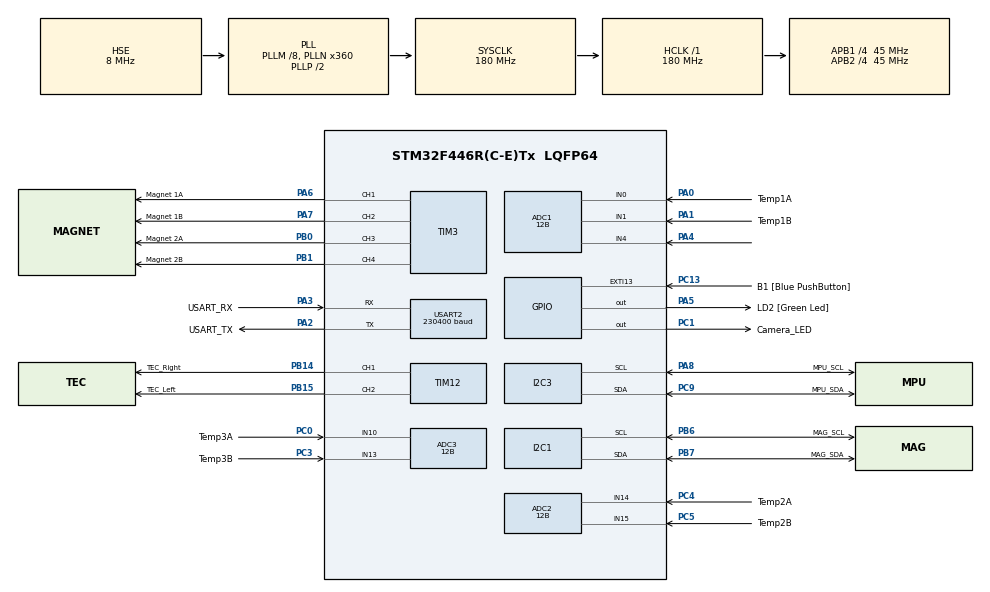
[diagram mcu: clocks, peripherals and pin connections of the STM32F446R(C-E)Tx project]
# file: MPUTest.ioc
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ADC1.Channel-0\#ChannelRegularConversion=ADC_CHANNEL_0
ADC1.Channel-1\#ChannelRegularConversion=ADC_CHANNEL_1
ADC1.Channel-2\#ChannelInjectedConversion=ADC_CHANNEL_0
ADC1.Channel-3\#ChannelInjectedConversion=ADC_CHANNEL_0
ADC1.ClockPrescaler=ADC_CLOCK_SYNC_PCLK_DIV8
ADC1.ContinuousConvMode=ENABLE
ADC1.DMAContinuousRequests=ENABLE
ADC1.DataAlign=ADC_DATAALIGN_RIGHT
ADC1.DiscontinuousConvMode=DISABLE
ADC1.EOCSelection=ADC_EOC_SEQ_CONV
ADC1.EnableAnalogWatchDog=false
ADC1.ExternalTrigConv=ADC_SOFTWARE_START
ADC1.ExternalTrigConvEdge=ADC_EXTERNALTRIGCONVEDGE_NONE
ADC1.InjNumberOfConversion=0
ADC1.InjectedOffset-2\#ChannelInjectedConversion=0
ADC1.InjectedOffset-3\#ChannelInjectedConversion=0
ADC1.NbrOfConversion=2
ADC1.NbrOfConversionFlag=1
ADC1.Rank-0\#ChannelRegularConversion=1
ADC1.Rank-1\#ChannelRegularConversion=2
ADC1.Rank-2\#ChannelInjectedConversion=1
ADC1.Rank-3\#ChannelInjectedConversion=2
ADC1.Resolution=ADC_RESOLUTION_12B
ADC1.SamplingTime-0\#ChannelRegularConversion=ADC_SAMPLETIME_28CYCLES
ADC1.SamplingTime-1\#ChannelRegularConversion=ADC_SAMPLETIME_28CYCLES
ADC1.SamplingTime-2\#ChannelInjectedConversion=ADC_SAMPLETIME_3CYCLES
ADC1.SamplingTime-3\#ChannelInjectedConversion=ADC_SAMPLETIME_3CYCLES
ADC1.ScanConvMode=ENABLE
ADC1.master=1
ADC2.Channel-0\#ChannelRegularConversion=ADC_CHANNEL_14
ADC2.Channel-1\#ChannelRegularConversion=ADC_CHANNEL_15
ADC2.ClockPrescaler=ADC_CLOCK_SYNC_PCLK_DIV8
ADC2.ContinuousConvMode=ENABLE
ADC2.DMAContinuousRequests=ENABLE
ADC2.DataAlign=ADC_DATAALIGN_RIGHT
ADC2.DiscontinuousConvMode=DISABLE
ADC2.EOCSelection=ADC_EOC_SINGLE_CONV
ADC2.EnableAnalogWatchDog=false
ADC2.ExternalTrigConv=ADC_SOFTWARE_START
ADC2.ExternalTrigConvEdge=ADC_EXTERNALTRIGCONVEDGE_NONE
ADC2.InjNumberOfConversion=0
ADC2.NbrOfConversion=2
ADC2.NbrOfConversionFlag=1
ADC2.Rank-0\#ChannelRegularConversion=1
ADC2.Rank-1\#ChannelRegularConversion=2
ADC2.Resolution=ADC_RESOLUTION_12B
ADC2.SamplingTime-0\#ChannelRegularConversion=ADC_SAMPLETIME_28CYCLES
ADC2.SamplingTime-1\#ChannelRegularConversion=ADC_SAMPLETIME_28CYCLES
ADC2.ScanConvMode=ENABLE
ADC3.Channel-4\#ChannelRegularConversion=ADC_CHANNEL_10
ADC3.Channel-5\#ChannelRegularConversion=ADC_CHANNEL_13
ADC3.ClockPrescaler=ADC_CLOCK_SYNC_PCLK_DIV8
ADC3.ContinuousConvMode=ENABLE
ADC3.DMAContinuousRequests=ENABLE
ADC3.DataAlign=ADC_DATAALIGN_RIGHT
ADC3.DiscontinuousConvMode=DISABLE
ADC3.EOCSelection=ADC_EOC_SINGLE_CONV
ADC3.EnableAnalogWatchDog=false
ADC3.ExternalTrigConv=ADC_SOFTWARE_START
ADC3.ExternalTrigConvEdge=ADC_EXTERNALTRIGCONVEDGE_NONE
ADC3.InjNumberOfConversion=0
ADC3.NbrOfConversion=2
ADC3.NbrOfConversionFlag=1
ADC3.Rank-4\#ChannelRegularConversion=1
ADC3.Rank-5\#ChannelRegularConversion=2
ADC3.Resolution=ADC_RESOLUTION_12B
ADC3.SamplingTime-4\#ChannelRegularConversion=ADC_SAMPLETIME_28CYCLES
ADC3.SamplingTime-5\#ChannelRegularConversion=ADC_SAMPLETIME_28CYCLES
ADC3.ScanConvMode=ENABLE
Dma.ADC1.4.Direction=DMA_PERIPH_TO_MEMORY
Dma.ADC1.4.FIFOMode=DMA_FIFOMODE_DISABLE
Dma.ADC1.4.Instance=DMA2_Stream0
Dma.ADC1.4.MemDataAlignment=DMA_MDATAALIGN_HALFWORD
Dma.ADC1.4.MemInc=DMA_MINC_ENABLE
Dma.ADC1.4.Mode=DMA_CIRCULAR
Dma.ADC1.4.PeriphDataAlignment=DMA_PDATAALIGN_HALFWORD
Dma.ADC1.4.PeriphInc=DMA_PINC_DISABLE
Dma.ADC1.4.Priority=DMA_PRIORITY_LOW
Dma.ADC2.5.Direction=DMA_PERIPH_TO_MEMORY
Dma.ADC2.5.FIFOMode=DMA_FIFOMODE_DISABLE
Dma.ADC2.5.Instance=DMA2_Stream2
Dma.ADC2.5.MemDataAlignment=DMA_MDATAALIGN_HALFWORD
Dma.ADC2.5.MemInc=DMA_MINC_ENABLE
Dma.ADC2.5.Mode=DMA_CIRCULAR
Dma.ADC2.5.PeriphDataAlignment=DMA_PDATAALIGN_HALFWORD
Dma.ADC2.5.PeriphInc=DMA_PINC_DISABLE
Dma.ADC2.5.Priority=DMA_PRIORITY_LOW
Dma.ADC3.3.Direction=DMA_PERIPH_TO_MEMORY
Dma.ADC3.3.FIFOMode=DMA_FIFOMODE_DISABLE
Dma.ADC3.3.Instance=DMA2_Stream1
Dma.ADC3.3.MemDataAlignment=DMA_MDATAALIGN_HALFWORD
Dma.ADC3.3.MemInc=DMA_MINC_ENABLE
Dma.ADC3.3.Mode=DMA_CIRCULAR
Dma.ADC3.3.PeriphDataAlignment=DMA_PDATAALIGN_HALFWORD
Dma.ADC3.3.PeriphInc=DMA_PINC_DISABLE
Dma.ADC3.3.Priority=DMA_PRIORITY_LOW
Dma.I2C1_RX.0.Direction=DMA_PERIPH_TO_MEMORY
Dma.I2C1_RX.0.FIFOMode=DMA_FIFOMODE_DISABLE
Dma.I2C1_RX.0.Instance=DMA1_Stream0
Dma.I2C1_RX.0.MemDataAlignment=DMA_MDATAALIGN_BYTE
Dma.I2C1_RX.0.MemInc=DMA_MINC_ENABLE
Dma.I2C1_RX.0.Mode=DMA_NORMAL
Dma.I2C1_RX.0.PeriphDataAlignment=DMA_PDATAALIGN_BYTE
Dma.I2C1_RX.0.PeriphInc=DMA_PINC_DISABLE
Dma.I2C1_RX.0.Priority=DMA_PRIORITY_LOW
Dma.I2C3_RX.2.Direction=DMA_PERIPH_TO_MEMORY
Dma.I2C3_RX.2.FIFOMode=DMA_FIFOMODE_DISABLE
Dma.I2C3_RX.2.Instance=DMA1_Stream1
Dma.I2C3_RX.2.MemDataAlignment=DMA_MDATAALIGN_BYTE
Dma.I2C3_RX.2.MemInc=DMA_MINC_ENABLE
Dma.I2C3_RX.2.Mode=DMA_NORMAL
Dma.I2C3_RX.2.PeriphDataAlignment=DMA_PDATAALIGN_BYTE
Dma.I2C3_RX.2.PeriphInc=DMA_PINC_DISABLE
Dma.I2C3_RX.2.Priority=DMA_PRIORITY_LOW
Dma.Request0=I2C1_RX
Dma.Request1=USART2_TX
Dma.Request2=I2C3_RX
Dma.Request3=ADC3
Dma.Request4=ADC1
Dma.Request5=ADC2
Dma.USART2_TX.1.Direction=DMA_MEMORY_TO_PERIPH
Dma.USART2_TX.1.FIFOMode=DMA_FIFOMODE_DISABLE
Dma.USART2_TX.1.Instance=DMA1_Stream6
Dma.USART2_TX.1.MemDataAlignment=DMA_MDATAALIGN_BYTE
Dma.USART2_TX.1.MemInc=DMA_MINC_ENABLE
Dma.USART2_TX.1.Mode=DMA_NORMAL
Dma.USART2_TX.1.PeriphDataAlignment=DMA_PDATAALIGN_BYTE
Dma.USART2_TX.1.PeriphInc=DMA_PINC_DISABLE
Dma.USART2_TX.1.Priority=DMA_PRIORITY_LOW
FREERTOS.BinarySemaphores01=semMPU9250,Static,semMPU9250ControlBlock;semTx,Static,semTxControlBlock;semRx,Static,semRxControlBlock
FREERTOS.HEAP_NUMBER=4
FREERTOS.INCLUDE_pcTaskGetTaskName=0
FREERTOS.INCLUDE_uxTaskGetStackHighWaterMark=0
FREERTOS.INCLUDE_vTaskCleanUpResources=0
FREERTOS.INCLUDE_vTaskDelayUntil=1
FREERTOS.INCLUDE_xTaskGetHandle=1
FREERTOS.MEMORY_ALLOCATION=2
FREERTOS.Queues01=xTXDataQueue,4,TXData_t,0,Static,xTXDataQueueBuffer,xTXDataQueueControlBlock
FREERTOS.Tasks01=defaultTask,-3,1024,StartDefaultTask,Default,NULL,Static,defaultTaskBuffer,defaultTaskControlBlock;ControlTask,0,512,StartControlTask,Default,NULL,Static,ControlTaskBuffer,ControlTaskControlBlock;TxTask,2,512,StartTxTask,Default,NULL,Static,DataLogTaskBuffer,DataLogTaskControlBlock;MPU9250Task,0,1024,StartMPU9250Task,Default,NULL,Static,MPU9250TaskBuffer,MPU9250TaskControlBlock;RxTask,3,512,StartRxTask,Default,NULL,Static,rxTaskBuffer,rxTaskControlBlock;TempTask,0,512,StartTempTask,Default,NULL,Static,TempTaskBuffer,TempTaskControlBlock
FREERTOS.Timers01=tmrLEDBlink,tmrLEDCallback,osTimerPeriodic,Default,NULL,Static,tmrLEDBlinkControlBlock;tmrCameraLED,tmrCameraLEDCallback,osTimerOnce,Default,NULL,Static,tmrCameraLEDControlBlock
FREERTOS.configGENERATE_RUN_TIME_STATS=1
FREERTOS.configMINIMAL_STACK_SIZE=256
FREERTOS.configTOTAL_HEAP_SIZE=4096
FREERTOS.configUSE_COUNTING_SEMAPHORES=0
FREERTOS.configUSE_STATS_FORMATTING_FUNCTIONS=1
FREERTOS.configUSE_TIMERS=1
FREERTOS.configUSE_TRACE_FACILITY=1
I2C1.I2C_Mode=I2C_Fast
I2C3.I2C_Mode=I2C_Fast
Mcu.Family=STM32F4
Mcu.Name=STM32F446R(C-E)Tx
Mcu.Package=LQFP64
Mcu.UserConstants=TEC_PWM_PERIOD,18000;MPU9250_CYCLE_MS,2;CONTROL_CYCLE_MS,2;TEMP_CYCLE_MS,10;MAGNET_PWM_PERIOD,18000
NVIC.DMA1_Stream0_IRQn=true\:5\:0\:false\:false\:true\:true\:false
NVIC.DMA1_Stream1_IRQn=true\:5\:0\:false\:false\:true\:true\:false
NVIC.DMA1_Stream6_IRQn=true\:5\:0\:false\:false\:true\:true\:false
NVIC.DMA2_Stream0_IRQn=true\:5\:0\:false\:false\:true\:true\:false
NVIC.DMA2_Stream1_IRQn=true\:5\:0\:false\:false\:true\:true\:false
NVIC.DMA2_Stream2_IRQn=true\:5\:0\:false\:false\:true\:true\:false
NVIC.I2C1_EV_IRQn=true\:5\:0\:false\:false\:true\:true\:true
NVIC.I2C3_EV_IRQn=true\:5\:0\:false\:false\:true\:true\:true
NVIC.PriorityGroup=NVIC_PRIORITYGROUP_4
NVIC.TIM1_UP_TIM10_IRQn=true\:5\:0\:false\:false\:true\:true\:true
NVIC.TIM6_DAC_IRQn=true\:0\:0\:false\:false\:true\:false\:false
NVIC.TimeBase=TIM6_DAC_IRQn
NVIC.TimeBaseIP=TIM6
NVIC.USART2_IRQn=true\:5\:0\:false\:false\:true\:true\:true
PA0-WKUP.GPIO_Label=Temp1A
PA0-WKUP.Signal=ADCx_IN0
PA1.GPIO_Label=Temp1B
PA1.Signal=ADCx_IN1
PA13.GPIO_Label=TMS
PA13.Signal=SYS_JTMS-SWDIO
PA14.GPIO_Label=TCK
PA14.Signal=SYS_JTCK-SWCLK
PA2.GPIO_Label=USART_TX
PA2.Mode=Asynchronous
PA2.Signal=USART2_TX
PA3.GPIO_Label=USART_RX
PA3.Mode=Asynchronous
PA3.Signal=USART2_RX
PA4.Signal=ADCx_IN4
PA5.GPIO_Label=LD2 [Green Led]
PA5.GPIO_Speed=GPIO_SPEED_FREQ_HIGH
PA5.Signal=GPIO_Output
PA6.GPIO_Label=Magnet 1A
PA6.GPIO_Speed=GPIO_SPEED_FREQ_VERY_HIGH
PA6.Signal=S_TIM3_CH1
PA7.GPIO_Label=Magnet 1B
PA7.GPIO_Speed=GPIO_SPEED_FREQ_VERY_HIGH
PA7.Signal=S_TIM3_CH2
PA8.GPIO_Label=MPU_SCL
PA8.Mode=I2C
PA8.Signal=I2C3_SCL
PB0.GPIO_Label=Magnet 2A
PB0.GPIO_Speed=GPIO_SPEED_FREQ_VERY_HIGH
PB0.Signal=S_TIM3_CH3
PB1.GPIO_Label=Magnet 2B
PB1.GPIO_Speed=GPIO_SPEED_FREQ_VERY_HIGH
PB1.Signal=S_TIM3_CH4
PB14.GPIO_Label=TEC_Right
PB14.GPIO_Speed=GPIO_SPEED_FREQ_MEDIUM
PB14.Signal=S_TIM12_CH1
PB15.GPIO_Label=TEC_Left
PB15.GPIO_Speed=GPIO_SPEED_FREQ_MEDIUM
PB15.Signal=S_TIM12_CH2
PB3.GPIO_Label=SWO
PB3.Signal=SYS_JTDO-SWO
PB6.GPIO_Label=MAG_SCL
PB6.Mode=I2C
PB6.Signal=I2C1_SCL
PB7.GPIO_Label=MAG_SDA
PB7.Mode=I2C
PB7.Signal=I2C1_SDA
PC0.GPIO_Label=Temp3A
PC0.Signal=ADCx_IN10
PC1.GPIO_Label=Camera_LED
PC1.GPIO_Speed=GPIO_SPEED_FREQ_HIGH
PC1.Signal=GPIO_Output
PC13.GPIO_Label=B1 [Blue PushButton]
PC13.GPIO_ModeDefaultEXTI=GPIO_MODE_EVT_RISING
PC13.Signal=GPXTI13
PC14-OSC32_IN.Mode=LSE-External-Oscillator
PC14-OSC32_IN.Signal=RCC_OSC32_IN
PC15-OSC32_OUT.Mode=LSE-External-Oscillator
PC15-OSC32_OUT.Signal=RCC_OSC32_OUT
PC3.GPIO_Label=Temp3B
PC3.Signal=ADCx_IN13
PC4.GPIO_Label=Temp2A
PC4.Signal=ADCx_IN14
PC5.GPIO_Label=Temp2B
PC5.Signal=ADCx_IN15
PC9.GPIO_Label=MPU_SDA
PC9.Mode=I2C
PC9.Signal=I2C3_SDA
PH0-OSC_IN.Mode=HSE-External-Clock-Source
PH0-OSC_IN.Signal=RCC_OSC_IN
PH1-OSC_OUT.Mode=HSE-External-Clock-Source
PH1-OSC_OUT.Signal=RCC_OSC_OUT
ProjectManager.HeapSize=0x400
ProjectManager.StackSize=0x800
ProjectManager.TargetToolchain=SW4STM32
RCC.AHBFreq_Value=180000000
RCC.APB1CLKDivider=RCC_HCLK_DIV4
RCC.APB1Freq_Value=45000000
RCC.APB1TimFreq_Value=90000000
RCC.APB2CLKDivider=RCC_HCLK_DIV4
RCC.APB2Freq_Value=45000000
RCC.APB2TimFreq_Value=90000000
RCC.CortexFreq_Value=180000000
RCC.FLatency-AdvancedSettings=FLASH_LATENCY_5
RCC.HCLKFreq_Value=180000000
RCC.HSE_VALUE=8000000
RCC.HSI_VALUE=16000000
RCC.PLLM=8
RCC.PLLN=360
RCC.PLLSourceVirtual=RCC_PLLSOURCE_HSE
RCC.RCC_RTC_Clock_SourceVirtual=RCC_RTCCLKSOURCE_LSE
RCC.RCC_RTC_Clock_Source_FROM_HSE=RCC_RTCCLKSOURCE_HSE_DIV8
RCC.SYSCLKFreq_VALUE=180000000
RCC.SYSCLKSource=RCC_SYSCLKSOURCE_PLLCLK
RCC.USBFreq_Value=180000000
RCC.VCOOutputFreq_Value=360000000
RTC.AsynchPrediv=0
RTC.Date=28
RTC.Format=RTC_FORMAT_BCD
RTC.Hours=11
RTC.Minutes=18
RTC.Month=RTC_MONTH_JULY
RTC.Seconds=10
RTC.SynchPrediv=32767
RTC.WeekDay=RTC_WEEKDAY_SATURDAY
RTC.Year=18
SH.ADCx_IN0.0=ADC1_IN0,IN0
SH.ADCx_IN1.0=ADC1_IN1,IN1
SH.ADCx_IN10.0=ADC3_IN10,IN10
SH.ADCx_IN10.1=ADC1_IN10,IN10
SH.ADCx_IN13.0=ADC3_IN13,IN13
SH.ADCx_IN13.1=ADC1_IN13,IN13
SH.ADCx_IN14.0=ADC2_IN14,IN14
SH.ADCx_IN14.1=ADC1_IN14,IN14
SH.ADCx_IN15.0=ADC2_IN15,IN15
SH.ADCx_IN15.1=ADC1_IN15,IN15
SH.ADCx_IN4.0=ADC1_IN4,IN4
SH.S_TIM12_CH1.0=TIM12_CH1,PWM Generation1 CH1
SH.S_TIM12_CH2.0=TIM12_CH2,PWM Generation2 CH2
SH.S_TIM3_CH1.0=TIM3_CH1,Output Compare1 CH1
SH.S_TIM3_CH2.0=TIM3_CH2,Output Compare2 CH2
SH.S_TIM3_CH3.0=TIM3_CH3,Output Compare3 CH3
SH.S_TIM3_CH4.0=TIM3_CH4,Output Compare4 CH4
TIM10.Period=63972
TIM12.Channel-PWM\ Generation1\ CH1=TIM_CHANNEL_1
TIM12.Channel-PWM\ Generation2\ CH2=TIM_CHANNEL_2
TIM12.Period=TEC_PWM_PERIOD-1
TIM3.Channel-Output\ Compare1\ CH1=TIM_CHANNEL_1
TIM3.Channel-Output\ Compare2\ CH2=TIM_CHANNEL_2
TIM3.Channel-Output\ Compare3\ CH3=TIM_CHANNEL_3
TIM3.Channel-Output\ Compare4\ CH4=TIM_CHANNEL_4
TIM3.OCMode_1=TIM_OCMODE_ACTIVE
TIM3.OCMode_2=TIM_OCMODE_ACTIVE
TIM3.OCMode_3=TIM_OCMODE_ACTIVE
TIM3.OCMode_4=TIM_OCMODE_ACTIVE
TIM3.OCPolarity_1=TIM_OCPOLARITY_LOW
TIM3.Period=MAGNET_PWM_PERIOD-1
TIM3.TIM_MasterSlaveMode=TIM_MASTERSLAVEMODE_ENABLE
USART2.BaudRate=230400
USART2.VirtualMode=VM_ASYNC
VP_ADC1_Vbat_Input.Mode=IN-Vbat
VP_ADC1_Vref_Input.Mode=IN-Vrefint
VP_FREERTOS_VS_ENABLE.Mode=Enabled
VP_RTC_VS_RTC_Activate.Mode=RTC_Enabled
VP_RTC_VS_RTC_Calendar.Mode=RTC_Calendar
VP_SYS_VS_tim6.Mode=TIM6
VP_TIM10_VS_ClockSourceINT.Mode=Enable_Timer
board=NUCLEO-F446RE

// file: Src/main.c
/**
  ******************************************************************************
  * @file           : main.c
  * @brief          : Main program body
  ******************************************************************************
  * This notice applies to any and all portions of this file
  * that are not between comment pairs USER CODE BEGIN and
  * USER CODE END. Other portions of this file, whether
  * inserted by the user or by software development tools
  * are owned by their respective copyright owners.
  *
  * Copyright (c) 2018 STMicroelectronics International N.V.
  * All rights reserved.
  *
  * Redistribution and use in source and binary forms, with or without
  * modification, are permitted, provided that the following conditions are met:
  *
  * 1. Redistribution of source code must retain the above copyright notice,
  *    this list of conditions and the following disclaimer.
  * 2. Redistributions in binary form must reproduce the above copyright notice,
  *    this list of conditions and the following disclaimer in the documentation
  *    and/or other materials provided with the distribution.
  * 3. Neither the name of STMicroelectronics nor the names of other
  *    contributors to this software may be used to endorse or promote products
  *    derived from this software without specific written permission.
  * 4. This software, including modifications and/or derivative works of this
  *    software, must execute solely and exclusively on microcontroller or
  *    microprocessor devices manufactured by or for STMicroelectronics.
  * 5. Redistribution and use of this software other than as permitted under
  *    this license is void and will automatically terminate your rights under
  *    this license.
  *
  * THIS SOFTWARE IS PROVIDED BY STMICROELECTRONICS AND CONTRIBUTORS "AS IS"
  * AND ANY EXPRESS, IMPLIED OR STATUTORY WARRANTIES, INCLUDING, BUT NOT
  * LIMITED TO, THE IMPLIED WARRANTIES OF MERCHANTABILITY, FITNESS FOR A
  * PARTICULAR PURPOSE AND NON-INFRINGEMENT OF THIRD PARTY INTELLECTUAL PROPERTY
  * RIGHTS ARE DISCLAIMED TO THE FULLEST EXTENT PERMITTED BY LAW. IN NO EVENT
  * SHALL STMICROELECTRONICS OR CONTRIBUTORS BE LIABLE FOR ANY DIRECT, INDIRECT,
  * INCIDENTAL, SPECIAL, EXEMPLARY, OR CONSEQUENTIAL DAMAGES (INCLUDING, BUT NOT
  * LIMITED TO, PROCUREMENT OF SUBSTITUTE GOODS OR SERVICES; LOSS OF USE, DATA,
  * OR PROFITS; OR BUSINESS INTERRUPTION) HOWEVER CAUSED AND ON ANY THEORY OF
  * LIABILITY, WHETHER IN CONTRACT, STRICT LIABILITY, OR TORT (INCLUDING
  * NEGLIGENCE OR OTHERWISE) ARISING IN ANY WAY OUT OF THE USE OF THIS SOFTWARE,
  * EVEN IF ADVISED OF THE POSSIBILITY OF SUCH DAMAGE.
  *
  ******************************************************************************
  */
#include "main.h"
#include "stm32f4xx_hal.h"
#include "cmsis_os.h"
#include "adc.h"
#include "dma.h"
#include "i2c.h"
#include "rtc.h"
#include "tim.h"
#include "usart.h"
#include "gpio.h"

/* USER CODE BEGIN Includes */
#include "App/App_Control.h"
#include "App/App_MPU9250.h"
/* USER CODE END Includes */

/* USER CODE BEGIN PV */
/* Private variables ---------------------------------------------------------*/

/* USER CODE END PV */

void SystemClock_Config(void);
void MX_FREERTOS_Init(void);

/* USER CODE BEGIN PFP */
/* Private function prototypes -----------------------------------------------*/

/* USER CODE END PFP */

int main(void)
{

  /* MCU Configuration----------------------------------------------------------*/

  /* Reset of all peripherals, Initializes the Flash interface and the Systick. */
  HAL_Init();

  /* Configure the system clock */
  SystemClock_Config();

  /* Initialize all configured peripherals */
  MX_GPIO_Init();
  MX_DMA_Init();
  MX_ADC1_Init();
  MX_ADC2_Init();
  MX_ADC3_Init();
  MX_I2C3_Init();
  MX_RTC_Init();
  MX_TIM3_Init();
  MX_TIM12_Init();
  MX_USART2_UART_Init();
  MX_TIM10_Init();
  MX_I2C1_Init();
  /* USER CODE BEGIN 2 */

  // TODO: Refactor this to achieve 2 things primarily:
  //     1. Cleaner startup code (separate into functions)
  //     2. Have a state-based sequence with timeouts so that the startup
  //        sequence cannot hang in the event of communication failures

  /********** Start-up procedure prior to starting the scheduler **********/
  // The 2 functions below are fixes for cases where Cube did not generate
  // correct peripheral initialization code
  MANUAL_MX_RTC_Init();
  MANUAL_ADC1_Init();

  HAL_Delay(100); // We're in no rush here...

  uint8_t recvBuff = 0;

  // Tell PC we are powered on
  char msg[] = "Microcontroller init sequence begin\n";
  do{
	  HAL_UART_Transmit(&huart2, (uint8_t*)msg, sizeof(msg), 10);
	  HAL_UART_Receive(&huart2, &recvBuff, 1, 1000);
  }while(recvBuff != 'A');
  recvBuff = 0; // Clear ACK

  /*************************************************************************
   *                      MPU9250 Initialization                           *
   *************************************************************************/
  // Attempt to initialize the MPU9250, up to 5 attempts
  int mpuInitStatus;
  for(int i = 0; i < 5; i++){
      mpuInitStatus = MPU9250Init(&myMPU9250);
      if(mpuInitStatus == 1){
    	  break;
      }
      else if(mpuInitStatus > -8){
    	  /* This is the case if there is a problem with the IMU module.
    	   * Try hard-resetting the IMU module. */
          resetIMUBlocking();
      }
      else if(mpuInitStatus <= -8){
    	  /* This is the case if there is a problem with the magnetometer.
    	   * Try software-resetting the magnetometer. */
          resetMagnetometerBlocking();
      }
      if(i == 2){
    	  /* When the microcontroller program starts up, it is not guaranteed that
		   * it is from a power cycle. Instead, the program may be starting up from
		   * a reset. A reset, however, only affects the microcontroller, and does not
		   * affect any peripherals connected to it. Thus, it is possible for the I2C
		   * bus to get locked when the slave is asserting an ACK and then the master
		   * clock drops out. The solution is to send some clock pulses to transition the
		   * state of the slave that's freezing the bus. */
    	  generateClocks(&hi2c3, 10, 0); // Generate 10 clock periods for accelerometer
    	  generateClocks(&hi2c1, 10, 0); // Generate 10 clock periods for magnetometer
      }
      if(i == 3){
    	  /* There is a silicon bug in some ST MCUs where a filter in the I2C module
    	   * randomly asserts the busy flag. The function below follows certain procedures
    	   * presented in an errata document to alleviate the issue. */
    	  generateClocks(&hi2c3, 1, 1); // Send 1 stop bit
    	  generateClocks(&hi2c1, 1, 1); // Send 1 stop bit
      }
      HAL_Delay(10);
  }

  // Transmit MPU init status
  if(mpuInitStatus == 1){
	  char msg[] = "MPU9250 init success\n";
	  do{
		  HAL_UART_Transmit(&huart2, (uint8_t*)msg, sizeof(msg), 10);
		  HAL_UART_Receive(&huart2, &recvBuff, 1, 1000);
	  }while(recvBuff != 'A');
	  recvBuff = 0; // Clear ACK
  }
  else{
	  char msg[] = "MPU9250 init fail\n";
	  do{
		  HAL_UART_Transmit(&huart2, (uint8_t*)msg, sizeof(msg), 10);
		  HAL_UART_Receive(&huart2, &recvBuff, 1, 1000);
	  }while(recvBuff != 'A');
	  recvBuff = 0; // Clear ACK
  }

  /*************************************************************************
   *                        RTC Initialization                             *
   *************************************************************************/
  // Time is of the form HH.MM.SS.mmmuuu, sent as ASCII (16 bytes total)
  uint8_t buff[16] = {0};
  uint8_t* ptrHours = &buff[0]; // 2 elements
  uint8_t* ptrMinutes = &buff[3]; // 2 elements
  uint8_t* ptrSeconds = &buff[6]; // 2 elements
  uint8_t* ptrSubseconds = &buff[9]; // 6 elements; milliseconds and microseconds
  buff[15] = '\n'; // This character is added so that serial.readline() can be used on the PC side

  // Receive time
  HAL_UART_Receive(&huart2, (uint8_t*)buff, 15, 100);

  // This is the received subseconds (millis and micros) in float form.
  // We may lose some precision by doing it this way, but this step will
  // still yield much higher calibration accuracy than if we skip this.
  float recvSubseconds = {
		  aToUint((char*)ptrSubseconds) * 0.1 +
		  aToUint((char*)(ptrSubseconds + 1)) * 0.01 +
		  aToUint((char*)(ptrSubseconds + 2)) * 0.001 +
		  aToUint((char*)(ptrSubseconds + 3)) * 0.0001 +
		  aToUint((char*)(ptrSubseconds + 4)) * 0.00001 +
		  aToUint((char*)(ptrSubseconds + 5)) * 0.000001
  	  };

  // Set RTC registers for hours, minutes, seconds (BCD)
  RTC_TimeTypeDef theTime;
  RTC_DateTypeDef theDate;
  theTime.Hours = aToBCD((char*)ptrHours);
  theTime.Minutes = aToBCD((char*)ptrMinutes);
  theTime.Seconds = aToBCD((char*)ptrSeconds);
  theTime.DayLightSaving = RTC_DAYLIGHTSAVING_NONE;
  theTime.StoreOperation = RTC_STOREOPERATION_RESET;
  HAL_RTC_SetTime(&hrtc, &theTime, RTC_FORMAT_BCD);

  // Read the subseconds register and use the RTC_SHIFTR register for
  // subsecond synchronization. Note that BOTH the time and date must
  // ALWAYS be read, and in that order, to ensure proper behaviour of
  // the RTC.
  HAL_RTC_GetTime(&hrtc, &theTime, RTC_FORMAT_BCD);
  HAL_RTC_GetDate(&hrtc, &theDate, RTC_FORMAT_BCD);
  float readSubseconds = 1.0 - ((float)theTime.SubSeconds / (float)theTime.SecondFraction);

  if(readSubseconds > recvSubseconds){
	  // We need to delay the RTC
	  float millisToDelay = readSubseconds - recvSubseconds;
	  uint16_t S = theTime.SecondFraction;
	  uint16_t ticksToDelay = S - (uint16_t)(millisToDelay * S);
	  HAL_RTCEx_SetSynchroShift(&hrtc, RTC_SHIFTADD1S_RESET, ticksToDelay);
  }
  else{
	  // We need to advance the RTC. I suppose this case is also entered if,
	  // through some miracle, readSubseconds is exactly equal to recvSubseconds.
	  float millisToAdvance = recvSubseconds - readSubseconds;
	  uint16_t S = theTime.SecondFraction;
	  uint16_t ticksToAdvance = S - (uint16_t)(millisToAdvance * S);
	  HAL_RTCEx_SetSynchroShift(&hrtc, RTC_SHIFTADD1S_SET, ticksToAdvance);
  }

  /*************************************************************************
   *               Turn on LED for camera synchronization                  *
   *************************************************************************/
  setCameraLEDState(ON);

  HAL_Delay(1500); // Wait 1500 ms, then send time. This way the PC will have logged data
  	  	  	  	   // demonstrating its accuracy over a reasonable time period. Also,
  	  	  	  	   // 1500 ms is necessary because after setting the RTC shift register,
                   // it takes about a second or so for it to work again properly.`

  /*************************************************************************
   *         Send back time, triggering GUI to start data display          *
   *************************************************************************/

  // Load transmit buffer with fresh time
  do{
	  HAL_RTC_GetTime(&hrtc, &theTime, RTC_FORMAT_BCD);
	  HAL_RTC_GetDate(&hrtc, &theDate, RTC_FORMAT_BCD);

	  *ptrHours = BCDToA(theTime.Hours) >> 8;
	  *(ptrHours + 1) = BCDToA(theTime.Hours) & 0xFF;
	  *ptrMinutes = BCDToA(theTime.Minutes) >> 8;
	  *(ptrMinutes + 1) = BCDToA(theTime.Minutes) & 0xFF;
	  *ptrSeconds = BCDToA(theTime.Seconds) >> 8;
	  *(ptrSeconds + 1) = BCDToA(theTime.Seconds) & 0xFF;
	  readSubseconds = 1.0 - ((float)theTime.SubSeconds / (float)theTime.SecondFraction);

	  // For subseconds, we use sprintf to convert from floating-point to ASCII
	  // We need to save this in an intermediate buffer so that we can ignore the
	  // "0." at the beginning of the float; this will make the time format consistent.
	  char subSecondsBuff[8] = {0};
	  sprintf((char*)subSecondsBuff, "%.6f", readSubseconds);
	  memcpy(ptrSubseconds, &subSecondsBuff[2], 6);

	  HAL_UART_Transmit(&huart2, (uint8_t*)buff, 16, 100);
	  HAL_UART_Receive(&huart2, &recvBuff, 1, 10);
  }while(recvBuff != 'A');
  recvBuff = 0; // Clear ACK

  /*************************************************************************
   *               Turn off LED for camera synchronization                 *
   *************************************************************************/
  setCameraLEDState(OFF);

  /* USER CODE END 2 */

  /* Call init function for freertos objects (in freertos.c) */
  MX_FREERTOS_Init();

  /* Start scheduler */
  osKernelStart();

  /* We should never get here as control is now taken by the scheduler */

  /* Infinite loop */
  while (1)
  {

  }

}

void SystemClock_Config(void)
{

  RCC_OscInitTypeDef RCC_OscInitStruct;
  RCC_ClkInitTypeDef RCC_ClkInitStruct;
  RCC_PeriphCLKInitTypeDef PeriphClkInitStruct;

    /**Configure the main internal regulator output voltage
    */
  __HAL_RCC_PWR_CLK_ENABLE();

  __HAL_PWR_VOLTAGESCALING_CONFIG(PWR_REGULATOR_VOLTAGE_SCALE1);

    /**Initializes the CPU, AHB and APB busses clocks
    */
  RCC_OscInitStruct.OscillatorType = RCC_OSCILLATORTYPE_HSE|RCC_OSCILLATORTYPE_LSE;
  RCC_OscInitStruct.HSEState = RCC_HSE_BYPASS;
  RCC_OscInitStruct.LSEState = RCC_LSE_ON;
  RCC_OscInitStruct.PLL.PLLState = RCC_PLL_ON;
  RCC_OscInitStruct.PLL.PLLSource = RCC_PLLSOURCE_HSE;
  RCC_OscInitStruct.PLL.PLLM = 8;
  RCC_OscInitStruct.PLL.PLLN = 360;
  RCC_OscInitStruct.PLL.PLLP = RCC_PLLP_DIV2;
  RCC_OscInitStruct.PLL.PLLQ = 2;
  RCC_OscInitStruct.PLL.PLLR = 2;
  if (HAL_RCC_OscConfig(&RCC_OscInitStruct) != HAL_OK)
  {
    _Error_Handler(__FILE__, __LINE__);
  }

    /**Activate the Over-Drive mode
    */
  if (HAL_PWREx_EnableOverDrive() != HAL_OK)
  {
    _Error_Handler(__FILE__, __LINE__);
  }

    /**Initializes the CPU, AHB and APB busses clocks
    */
  RCC_ClkInitStruct.ClockType = RCC_CLOCKTYPE_HCLK|RCC_CLOCKTYPE_SYSCLK
                              |RCC_CLOCKTYPE_PCLK1|RCC_CLOCKTYPE_PCLK2;
  RCC_ClkInitStruct.SYSCLKSource = RCC_SYSCLKSOURCE_PLLCLK;
  RCC_ClkInitStruct.AHBCLKDivider = RCC_SYSCLK_DIV1;
  RCC_ClkInitStruct.APB1CLKDivider = RCC_HCLK_DIV4;
  RCC_ClkInitStruct.APB2CLKDivider = RCC_HCLK_DIV4;

  if (HAL_RCC_ClockConfig(&RCC_ClkInitStruct, FLASH_LATENCY_5) != HAL_OK)
  {
    _Error_Handler(__FILE__, __LINE__);
  }

  PeriphClkInitStruct.PeriphClockSelection = RCC_PERIPHCLK_RTC;
  PeriphClkInitStruct.RTCClockSelection = RCC_RTCCLKSOURCE_LSE;
  if (HAL_RCCEx_PeriphCLKConfig(&PeriphClkInitStruct) != HAL_OK)
  {
    _Error_Handler(__FILE__, __LINE__);
  }

    /**Configure the Systick interrupt time
    */
  HAL_SYSTICK_Config(HAL_RCC_GetHCLKFreq()/1000);

    /**Configure the Systick
    */
  HAL_SYSTICK_CLKSourceConfig(SYSTICK_CLKSOURCE_HCLK);

  /* SysTick_IRQn interrupt configuration */
  HAL_NVIC_SetPriority(SysTick_IRQn, 15, 0);
}

void HAL_TIM_PeriodElapsedCallback(TIM_HandleTypeDef *htim)
{
  if (htim->Instance == TIM6) {
    HAL_IncTick();
  }
}

void _Error_Handler(char *file, int line)
{
  while(1)
  {
  }
}

/************************ (C) COPYRIGHT STMicroelectronics *****END OF FILE****/

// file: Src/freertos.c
/**
  ******************************************************************************
  * File Name          : freertos.c
  * Description        : Code for freertos applications
  ******************************************************************************
  * This notice applies to any and all portions of this file
  * that are not between comment pairs USER CODE BEGIN and
  * USER CODE END. Other portions of this file, whether
  * inserted by the user or by software development tools
  * are owned by their respective copyright owners.
  *
  * Copyright (c) 2018 STMicroelectronics International N.V.
  * All rights reserved.
  *
  * Redistribution and use in source and binary forms, with or without
  * modification, are permitted, provided that the following conditions are met:
  *
  * 1. Redistribution of source code must retain the above copyright notice,
  *    this list of conditions and the following disclaimer.
  * 2. Redistributions in binary form must reproduce the above copyright notice,
  *    this list of conditions and the following disclaimer in the documentation
  *    and/or other materials provided with the distribution.
  * 3. Neither the name of STMicroelectronics nor the names of other
  *    contributors to this software may be used to endorse or promote products
  *    derived from this software without specific written permission.
  * 4. This software, including modifications and/or derivative works of this
  *    software, must execute solely and exclusively on microcontroller or
  *    microprocessor devices manufactured by or for STMicroelectronics.
  * 5. Redistribution and use of this software other than as permitted under
  *    this license is void and will automatically terminate your rights under
  *    this license.
  *
  * THIS SOFTWARE IS PROVIDED BY STMICROELECTRONICS AND CONTRIBUTORS "AS IS"
  * AND ANY EXPRESS, IMPLIED OR STATUTORY WARRANTIES, INCLUDING, BUT NOT
  * LIMITED TO, THE IMPLIED WARRANTIES OF MERCHANTABILITY, FITNESS FOR A
  * PARTICULAR PURPOSE AND NON-INFRINGEMENT OF THIRD PARTY INTELLECTUAL PROPERTY
  * RIGHTS ARE DISCLAIMED TO THE FULLEST EXTENT PERMITTED BY LAW. IN NO EVENT
  * SHALL STMICROELECTRONICS OR CONTRIBUTORS BE LIABLE FOR ANY DIRECT, INDIRECT,
  * INCIDENTAL, SPECIAL, EXEMPLARY, OR CONSEQUENTIAL DAMAGES (INCLUDING, BUT NOT
  * LIMITED TO, PROCUREMENT OF SUBSTITUTE GOODS OR SERVICES; LOSS OF USE, DATA,
  * OR PROFITS; OR BUSINESS INTERRUPTION) HOWEVER CAUSED AND ON ANY THEORY OF
  * LIABILITY, WHETHER IN CONTRACT, STRICT LIABILITY, OR TORT (INCLUDING
  * NEGLIGENCE OR OTHERWISE) ARISING IN ANY WAY OUT OF THE USE OF THIS SOFTWARE,
  * EVEN IF ADVISED OF THE POSSIBILITY OF SUCH DAMAGE.
  *
  ******************************************************************************
  */

#include "FreeRTOS.h"
#include "task.h"
#include "cmsis_os.h"

/* USER CODE BEGIN Includes */
#include "App/App_Control.h"
#include "App/App_CommTX.h"
#include "App/App_MPU9250.h"
#include "App/App_CommRX.h"
#include "App/App_Temperature.h"
/* USER CODE END Includes */

osThreadId defaultTaskHandle;
uint32_t defaultTaskBuffer[ 1024 ];
osStaticThreadDef_t defaultTaskControlBlock;
osThreadId ControlTaskHandle;
uint32_t ControlTaskBuffer[ 512 ];
osStaticThreadDef_t ControlTaskControlBlock;
osThreadId TxTaskHandle;
uint32_t DataLogTaskBuffer[ 512 ];
osStaticThreadDef_t DataLogTaskControlBlock;
osThreadId MPU9250TaskHandle;
uint32_t MPU9250TaskBuffer[ 1024 ];
osStaticThreadDef_t MPU9250TaskControlBlock;
osThreadId RxTaskHandle;
uint32_t rxTaskBuffer[ 512 ];
osStaticThreadDef_t rxTaskControlBlock;
osThreadId TempTaskHandle;
uint32_t TempTaskBuffer[ 512 ];
osStaticThreadDef_t TempTaskControlBlock;
osMessageQId xTXDataQueueHandle;
uint8_t xTXDataQueueBuffer[ 4 * sizeof( TXData_t ) ];
osStaticMessageQDef_t xTXDataQueueControlBlock;
osTimerId tmrLEDBlinkHandle;
osStaticTimerDef_t tmrLEDBlinkControlBlock;
osTimerId tmrCameraLEDHandle;
osStaticTimerDef_t tmrCameraLEDControlBlock;
osSemaphoreId semMPU9250Handle;
osStaticSemaphoreDef_t semMPU9250ControlBlock;
osSemaphoreId semTxHandle;
osStaticSemaphoreDef_t semTxControlBlock;
osSemaphoreId semRxHandle;
osStaticSemaphoreDef_t semRxControlBlock;

void StartDefaultTask(void const * argument);
void StartControlTask(void const * argument);
void StartTxTask(void const * argument);
void StartMPU9250Task(void const * argument);
void StartRxTask(void const * argument);
void StartTempTask(void const * argument);
void tmrLEDCallback(void const * argument);
void tmrCameraLEDCallback(void const * argument);

void MX_FREERTOS_Init(void); /* (MISRA C 2004 rule 8.1) */

/* GetIdleTaskMemory prototype (linked to static allocation support) */
void vApplicationGetIdleTaskMemory( StaticTask_t **ppxIdleTaskTCBBuffer, StackType_t **ppxIdleTaskStackBuffer, uint32_t *pulIdleTaskStackSize );

/* GetTimerTaskMemory prototype (linked to static allocation support) */
void vApplicationGetTimerTaskMemory( StaticTask_t **ppxTimerTaskTCBBuffer, StackType_t **ppxTimerTaskStackBuffer, uint32_t *pulTimerTaskStackSize );

/* Hook prototypes */
void configureTimerForRunTimeStats(void);
unsigned long getRunTimeCounterValue(void);

/* USER CODE BEGIN 1 */
/* Functions needed when configGENERATE_RUN_TIME_STATS is on */
__weak void configureTimerForRunTimeStats(void)
{

}

__weak unsigned long getRunTimeCounterValue(void)
{
return 0;
}

/**
 * @brief Toggles the green LED, LD2
 * @note  Useful for debugging
 */
inline void ToggleStatusLED(){
    HAL_GPIO_TogglePin(GPIOA, GPIO_PIN_5);
}
/* USER CODE END 1 */

/* USER CODE BEGIN GET_IDLE_TASK_MEMORY */
static StaticTask_t xIdleTaskTCBBuffer;
static StackType_t xIdleStack[configMINIMAL_STACK_SIZE];

void vApplicationGetIdleTaskMemory( StaticTask_t **ppxIdleTaskTCBBuffer, StackType_t **ppxIdleTaskStackBuffer, uint32_t *pulIdleTaskStackSize )
{
  *ppxIdleTaskTCBBuffer = &xIdleTaskTCBBuffer;
  *ppxIdleTaskStackBuffer = &xIdleStack[0];
  *pulIdleTaskStackSize = configMINIMAL_STACK_SIZE;
  /* place for user code */
}
/* USER CODE END GET_IDLE_TASK_MEMORY */

/* USER CODE BEGIN GET_TIMER_TASK_MEMORY */
static StaticTask_t xTimerTaskTCBBuffer;
static StackType_t xTimerStack[configTIMER_TASK_STACK_DEPTH];

void vApplicationGetTimerTaskMemory( StaticTask_t **ppxTimerTaskTCBBuffer, StackType_t **ppxTimerTaskStackBuffer, uint32_t *pulTimerTaskStackSize )
{
  *ppxTimerTaskTCBBuffer = &xTimerTaskTCBBuffer;
  *ppxTimerTaskStackBuffer = &xTimerStack[0];
  *pulTimerTaskStackSize = configTIMER_TASK_STACK_DEPTH;
  /* place for user code */
}
/* USER CODE END GET_TIMER_TASK_MEMORY */

/* Init FreeRTOS */

void MX_FREERTOS_Init(void) {

  /* Create the semaphores(s) */
  /* definition and creation of semMPU9250 */
  osSemaphoreStaticDef(semMPU9250, &semMPU9250ControlBlock);
  semMPU9250Handle = osSemaphoreCreate(osSemaphore(semMPU9250), 1);

  /* definition and creation of semTx */
  osSemaphoreStaticDef(semTx, &semTxControlBlock);
  semTxHandle = osSemaphoreCreate(osSemaphore(semTx), 1);

  /* definition and creation of semRx */
  osSemaphoreStaticDef(semRx, &semRxControlBlock);
  semRxHandle = osSemaphoreCreate(osSemaphore(semRx), 1);

  /* Create the timer(s) */
  /* definition and creation of tmrLEDBlink */
  osTimerStaticDef(tmrLEDBlink, tmrLEDCallback, &tmrLEDBlinkControlBlock);
  tmrLEDBlinkHandle = osTimerCreate(osTimer(tmrLEDBlink), osTimerPeriodic, NULL);

  /* definition and creation of tmrCameraLED */
  osTimerStaticDef(tmrCameraLED, tmrCameraLEDCallback, &tmrCameraLEDControlBlock);
  tmrCameraLEDHandle = osTimerCreate(osTimer(tmrCameraLED), osTimerOnce, NULL);

  /* USER CODE BEGIN RTOS_TIMERS */
  /* start timers, add new ones, ... */
  osTimerStart(tmrLEDBlinkHandle, 1000); // Start timer to blink status LED
  /* USER CODE END RTOS_TIMERS */

  /* Create the thread(s) */
  /* definition and creation of defaultTask */
  osThreadStaticDef(defaultTask, StartDefaultTask, osPriorityIdle, 0, 1024, defaultTaskBuffer, &defaultTaskControlBlock);
  defaultTaskHandle = osThreadCreate(osThread(defaultTask), NULL);

  /* definition and creation of ControlTask */
  osThreadStaticDef(ControlTask, StartControlTask, osPriorityNormal, 0, 512, ControlTaskBuffer, &ControlTaskControlBlock);
  ControlTaskHandle = osThreadCreate(osThread(ControlTask), NULL);

  /* definition and creation of TxTask */
  osThreadStaticDef(TxTask, StartTxTask, osPriorityHigh, 0, 512, DataLogTaskBuffer, &DataLogTaskControlBlock);
  TxTaskHandle = osThreadCreate(osThread(TxTask), NULL);

  /* definition and creation of MPU9250Task */
  osThreadStaticDef(MPU9250Task, StartMPU9250Task, osPriorityNormal, 0, 1024, MPU9250TaskBuffer, &MPU9250TaskControlBlock);
  MPU9250TaskHandle = osThreadCreate(osThread(MPU9250Task), NULL);

  /* definition and creation of RxTask */
  osThreadStaticDef(RxTask, StartRxTask, osPriorityRealtime, 0, 512, rxTaskBuffer, &rxTaskControlBlock);
  RxTaskHandle = osThreadCreate(osThread(RxTask), NULL);

  /* definition and creation of TempTask */
  osThreadStaticDef(TempTask, StartTempTask, osPriorityNormal, 0, 512, TempTaskBuffer, &TempTaskControlBlock);
  TempTaskHandle = osThreadCreate(osThread(TempTask), NULL);

  /* Create the queue(s) */
  /* definition and creation of xTXDataQueue */
  osMessageQStaticDef(xTXDataQueue, 4, TXData_t, xTXDataQueueBuffer, &xTXDataQueueControlBlock);
  xTXDataQueueHandle = osMessageCreate(osMessageQ(xTXDataQueue), NULL);

}

/* StartDefaultTask function */
void StartDefaultTask(void const * argument)
{

    for(;;){
    }
}

/* StartControlTask function */
void StartControlTask(void const * argument)
{
  /* USER CODE BEGIN StartControlTask */
    TXData_t txDataControl;
    controlData_t controlData = { 0 };

    txDataControl.type = control_t;
    txDataControl.data = &controlData;

    TickType_t xLastWakeTime;
    xLastWakeTime = xTaskGetTickCount();

    uint32_t notification;

    controlInit();

    for(;;){
        vTaskDelayUntil(&xLastWakeTime, pdMS_TO_TICKS(CONTROL_CYCLE_MS)); // Service this task every CONTROL_CYCLE_MS milliseconds

        // Check for flight events
        if(xTaskNotifyWait(0, UINT32_MAX, &notification,
                pdMS_TO_TICKS(1)) == pdTRUE){
            controlEventHandler(notification);
        }

        // Update PWM duty cycle for magnets
        updateControlSignals();

        // Tell transmit task that new data is ready
        updateControlData(&controlData);
        xQueueSend(xTXDataQueueHandle, &txDataControl, 1);
    }
  /* USER CODE END StartControlTask */
}

/* StartTxTask function */
void StartTxTask(void const * argument)
{
  /* USER CODE BEGIN StartTxTask */
    // For intertask communication
    TXData_t receivedData;

    // For packet timing management
    BaseType_t status;
    TickType_t xLastWakeTime, cycleStartTick;
    xLastWakeTime = xTaskGetTickCount();
    cycleStartTick = xTaskGetTickCount();

    commTXInit();

    for(;;){
        // Trigger this thread every 1 ms. This way, we are guaranteed to meet
        // the 3 ms deadline
        vTaskDelay(pdMS_TO_TICKS(1));

        // Wait for something to transmit
        do{
            status = xQueueReceive(xTXDataQueueHandle, &receivedData, 0);

            if(status == pdTRUE){
                commTXEventHandler(&receivedData);
            }
        }while (status == pdTRUE);

        // This runs when:
        //    1. the control & MPU9250 threads have responded
        //    2. the timeout has elapsed
        if(isControlAndMPUDataCollected() || hasTimeoutElapsed(cycleStartTick)){
            commTXSendPacket(&xLastWakeTime, &cycleStartTick);
        }
    }
  /* USER CODE END StartTxTask */
}

/* StartMPU9250Task function */
void StartMPU9250Task(void const * argument)
{
  /* USER CODE BEGIN StartMPU9250Task */
    TickType_t xLastWakeTime;
    xLastWakeTime = xTaskGetTickCount();

    TXData_t txDataAccel, txDataMag;
    magnetometerData_t magnetometerData;
    accelerometerData_t accelerometerData;

    txDataAccel.type = accelerometer_t;
    txDataAccel.data = &accelerometerData;

    txDataMag.type = magnetometer_t;
    txDataMag.data = &magnetometerData;

    initAllMPU9250Filters();

    for(;;){
        // Service this task every MPU9250_CYCLE_MS milliseconds
        vTaskDelayUntil(&xLastWakeTime, pdMS_TO_TICKS(MPU9250_CYCLE_MS));

        // Read from sensor
        updateAccelReading(&accelerometerData, &myMPU9250);
        updateMagReading(&magnetometerData, &myMPU9250);

        // Tell transmit task that new data is ready
        xQueueSend(xTXDataQueueHandle, &txDataAccel, 1);
        xQueueSend(xTXDataQueueHandle, &txDataMag, 1);

        // Send updates to control task if there is an event
        MPU9250EventHandler(&myMPU9250);
    }
  /* USER CODE END StartMPU9250Task */
}

/* StartRxTask function */
void StartRxTask(void const * argument)
{
  /* USER CODE BEGIN StartRxTask */
    for(;;){
        commRXInitReception();

        if(xSemaphoreTake(semRxHandle, pdMS_TO_TICKS(30)) == pdTRUE){
            commRXEventHandler();
        }
        else{
            commRXCancelReception();
        }
    }
  /* USER CODE END StartRxTask */
}

/* StartTempTask function */
void StartTempTask(void const * argument)
{
  /* USER CODE BEGIN StartTempTask */
    TickType_t xLastWakeTime;
    xLastWakeTime = xTaskGetTickCount();

    TXData_t txDataTemperature;
    temperatureData_t temperatureData = { 0 };

    txDataTemperature.type = temperature_t;
    txDataTemperature.data = &temperatureData;

    Temp_Scan_Start();

    for(;;){
        // Service this task every TEMP_CYCLE_MS milliseconds
        vTaskDelayUntil(&xLastWakeTime, pdMS_TO_TICKS(TEMP_CYCLE_MS));

        updateTemperatureData(&temperatureData);

        xQueueSend(xTXDataQueueHandle, &txDataTemperature, 1);
    }
  /* USER CODE END StartTempTask */
}

/* tmrLEDCallback function */
/**
 * @defgroup Control_Callbacks Callbacks
 * @brief Event handlers to update the status/camera synchronization LED states
 * @ingroup Control
 */

/**
 * @brief Callback to blink status LED
 * @return none
 * @ingroup Control_Callbacks
 */
void tmrLEDCallback(void const * argument)
{
  /* USER CODE BEGIN tmrLEDCallback */
    ToggleStatusLED();
  /* USER CODE END tmrLEDCallback */
}

/* tmrCameraLEDCallback function */
/**
 * @brief  Callback to turn off the camera synchronization LED, which is turned
 *         on when a new reduced gravity event occurs
 * @return none
 * @ingroup Control_Callbacks
 */
void tmrCameraLEDCallback(void const * argument)
{
  /* USER CODE BEGIN tmrCameraLEDCallback */
    setCameraLEDState(OFF);
  /* USER CODE END tmrCameraLEDCallback */
}

/************************ (C) COPYRIGHT STMicroelectronics *****END OF FILE****/
